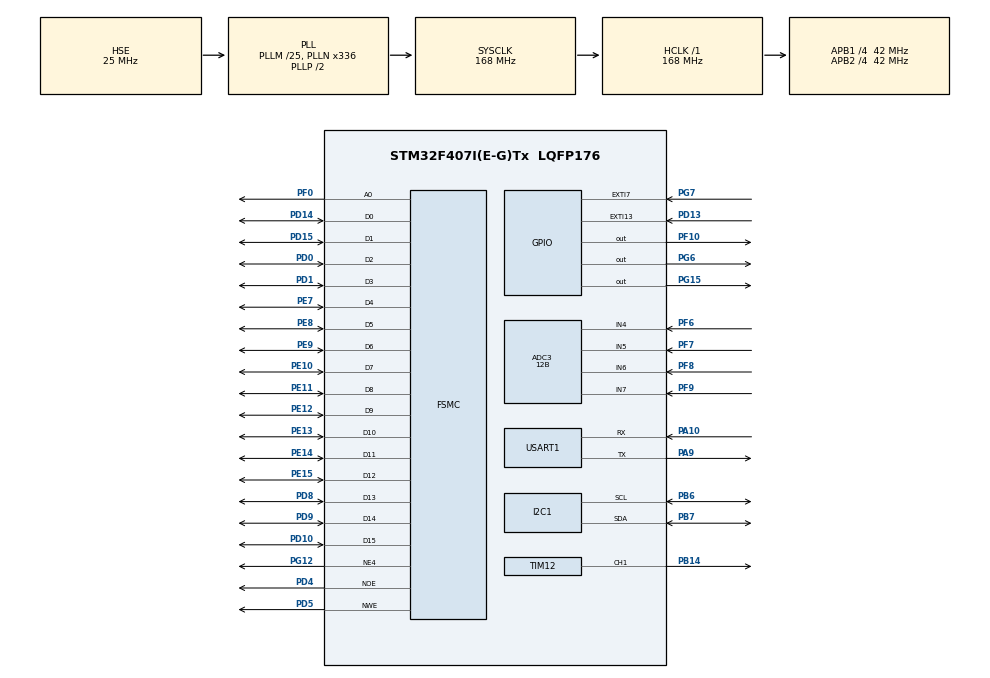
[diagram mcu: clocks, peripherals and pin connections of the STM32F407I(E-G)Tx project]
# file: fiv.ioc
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ADC3.Channel-0\#ChannelRegularConversion=ADC_CHANNEL_4
ADC3.Channel-1\#ChannelRegularConversion=ADC_CHANNEL_4
ADC3.Channel-2\#ChannelRegularConversion=ADC_CHANNEL_4
ADC3.Channel-3\#ChannelRegularConversion=ADC_CHANNEL_4
ADC3.ClockPrescaler=ADC_CLOCK_SYNC_PCLK_DIV2
ADC3.ContinuousConvMode=ENABLE
ADC3.DMAContinuousRequests=ENABLE
ADC3.DataAlign=ADC_DATAALIGN_RIGHT
ADC3.DiscontinuousConvMode=DISABLE
ADC3.EOCSelection=ADC_EOC_SINGLE_CONV
ADC3.EnableAnalogWatchDog=false
ADC3.ExternalTrigConvEdge=ADC_EXTERNALTRIGCONVEDGE_NONE
ADC3.InjNumberOfConversion=0
ADC3.NbrOfConversion=4
ADC3.NbrOfConversionFlag=1
ADC3.Rank-0\#ChannelRegularConversion=1
ADC3.Rank-1\#ChannelRegularConversion=2
ADC3.Rank-2\#ChannelRegularConversion=3
ADC3.Rank-3\#ChannelRegularConversion=4
ADC3.Resolution=ADC_RESOLUTION_12B
ADC3.SamplingTime-0\#ChannelRegularConversion=ADC_SAMPLETIME_3CYCLES
ADC3.SamplingTime-1\#ChannelRegularConversion=ADC_SAMPLETIME_3CYCLES
ADC3.SamplingTime-2\#ChannelRegularConversion=ADC_SAMPLETIME_3CYCLES
ADC3.SamplingTime-3\#ChannelRegularConversion=ADC_SAMPLETIME_3CYCLES
ADC3.ScanConvMode=ENABLE
Dma.ADC3.0.Direction=DMA_PERIPH_TO_MEMORY
Dma.ADC3.0.FIFOMode=DMA_FIFOMODE_DISABLE
Dma.ADC3.0.Instance=DMA2_Stream0
Dma.ADC3.0.MemDataAlignment=DMA_MDATAALIGN_HALFWORD
Dma.ADC3.0.MemInc=DMA_MINC_ENABLE
Dma.ADC3.0.Mode=DMA_NORMAL
Dma.ADC3.0.PeriphDataAlignment=DMA_PDATAALIGN_HALFWORD
Dma.ADC3.0.PeriphInc=DMA_PINC_DISABLE
Dma.ADC3.0.Priority=DMA_PRIORITY_HIGH
Dma.Request0=ADC3
FREERTOS.Tasks01=defaultTask,0,128,StartDefaultTask,Default
Mcu.Family=STM32F4
Mcu.Name=STM32F407I(E-G)Tx
Mcu.Package=LQFP176
NVIC.ADC_IRQn=true\:5\:0\:false\:false\:true\:true
NVIC.DMA2_Stream0_IRQn=true\:5\:0\:false\:false\:true\:true
NVIC.EXTI15_10_IRQn=true\:5\:0\:false\:false\:true\:true
NVIC.EXTI9_5_IRQn=true\:5\:0\:false\:false\:true\:true
NVIC.PriorityGroup=NVIC_PRIORITYGROUP_4
NVIC.USART1_IRQn=true\:5\:0\:false\:false\:true\:true
PA10.GPIO_Speed=GPIO_SPEED_FREQ_HIGH
PA10.Mode=Asynchronous
PA10.Signal=USART1_RX
PA9.GPIO_Speed=GPIO_SPEED_FREQ_HIGH
PA9.Mode=Asynchronous
PA9.Signal=USART1_TX
PB14.Signal=S_TIM12_CH1
PB6.Mode=I2C
PB6.Signal=I2C1_SCL
PB7.Mode=I2C
PB7.Signal=I2C1_SDA
PC14-OSC32_IN.Mode=LSE-External-Clock-Source
PC14-OSC32_IN.Signal=RCC_OSC32_IN
PC15-OSC32_OUT.Mode=LSE-External-Clock-Source
PC15-OSC32_OUT.Signal=RCC_OSC32_OUT
PD0.GPIO_Speed_High_Default=GPIO_SPEED_FREQ_HIGH
PD0.Signal=FSMC_D2_DA2
PD1.GPIO_Speed_High_Default=GPIO_SPEED_FREQ_HIGH
PD1.Signal=FSMC_D3_DA3
PD10.GPIO_Speed_High_Default=GPIO_SPEED_FREQ_HIGH
PD10.Signal=FSMC_D15_DA15
PD13.Signal=GPXTI13
PD14.GPIO_Speed_High_Default=GPIO_SPEED_FREQ_HIGH
PD14.Signal=FSMC_D0_DA0
PD15.GPIO_Speed_High_Default=GPIO_SPEED_FREQ_HIGH
PD15.Signal=FSMC_D1_DA1
PD4.GPIO_Speed_High_Default=GPIO_SPEED_FREQ_HIGH
PD4.Signal=FSMC_NOE
PD5.GPIO_Speed_High_Default=GPIO_SPEED_FREQ_HIGH
PD5.Signal=FSMC_NWE
PD8.GPIO_Speed_High_Default=GPIO_SPEED_FREQ_HIGH
PD8.Signal=FSMC_D13_DA13
PD9.GPIO_Speed_High_Default=GPIO_SPEED_FREQ_HIGH
PD9.Signal=FSMC_D14_DA14
PE10.GPIO_Speed_High_Default=GPIO_SPEED_FREQ_HIGH
PE10.Signal=FSMC_D7_DA7
PE11.GPIO_Speed_High_Default=GPIO_SPEED_FREQ_HIGH
PE11.Signal=FSMC_D8_DA8
PE12.GPIO_Speed_High_Default=GPIO_SPEED_FREQ_HIGH
PE12.Signal=FSMC_D9_DA9
PE13.GPIO_Speed_High_Default=GPIO_SPEED_FREQ_HIGH
PE13.Signal=FSMC_D10_DA10
PE14.GPIO_Speed_High_Default=GPIO_SPEED_FREQ_HIGH
PE14.Signal=FSMC_D11_DA11
PE15.GPIO_Speed_High_Default=GPIO_SPEED_FREQ_HIGH
PE15.Signal=FSMC_D12_DA12
PE7.GPIO_Speed_High_Default=GPIO_SPEED_FREQ_HIGH
PE7.Signal=FSMC_D4_DA4
PE8.GPIO_Speed_High_Default=GPIO_SPEED_FREQ_HIGH
PE8.Signal=FSMC_D5_DA5
PE9.GPIO_Speed_High_Default=GPIO_SPEED_FREQ_HIGH
PE9.Signal=FSMC_D6_DA6
PF0.GPIO_Speed_High_Default=GPIO_SPEED_FREQ_HIGH
PF0.Signal=FSMC_A0
PF10.Signal=GPIO_Output
PF6.Mode=IN4
PF6.Signal=ADC3_IN4
PF7.Mode=IN5
PF7.Signal=ADC3_IN5
PF8.Mode=IN6
PF8.Signal=ADC3_IN6
PF9.Mode=IN7
PF9.Signal=ADC3_IN7
PG12.GPIO_Speed_High_Default=GPIO_SPEED_FREQ_HIGH
PG12.Mode=NorPsramChipSelect4_2
PG12.Signal=FSMC_NE4
PG15.Signal=GPIO_Output
PG6.Signal=GPIO_Output
PG7.GPIO_PuPd=GPIO_PULLUP
PG7.Signal=GPXTI7
PH0-OSC_IN.Mode=HSE-External-Oscillator
PH0-OSC_IN.Signal=RCC_OSC_IN
PH1-OSC_OUT.Mode=HSE-External-Oscillator
PH1-OSC_OUT.Signal=RCC_OSC_OUT
ProjectManager.HeapSize=0x200
ProjectManager.StackSize=0x400
ProjectManager.TargetToolchain=MDK-ARM V5
RCC.48MHZClocksFreq_Value=84000000
RCC.AHBFreq_Value=168000000
RCC.APB1CLKDivider=RCC_HCLK_DIV4
RCC.APB1Freq_Value=42000000
RCC.APB1TimFreq_Value=84000000
RCC.APB2CLKDivider=RCC_HCLK_DIV4
RCC.APB2Freq_Value=42000000
RCC.APB2TimFreq_Value=84000000
RCC.CortexFreq_Value=168000000
RCC.HCLKFreq_Value=168000000
RCC.HSE_VALUE=25000000
RCC.HSI_VALUE=16000000
RCC.LSE_VALUE=32768
RCC.PLLM=25
RCC.PLLN=336
RCC.PLLSourceVirtual=RCC_PLLSOURCE_HSE
RCC.SYSCLKFreq_VALUE=168000000
RCC.SYSCLKSource=RCC_SYSCLKSOURCE_PLLCLK
RCC.VCOOutputFreq_Value=336000000
SH.FSMC_A0.0=FSMC_A0,A0_2
SH.FSMC_D0_DA0.0=FSMC_D0,16b-d2
SH.FSMC_D10_DA10.0=FSMC_D10,16b-d2
SH.FSMC_D11_DA11.0=FSMC_D11,16b-d2
SH.FSMC_D12_DA12.0=FSMC_D12,16b-d2
SH.FSMC_D13_DA13.0=FSMC_D13,16b-d2
SH.FSMC_D14_DA14.0=FSMC_D14,16b-d2
SH.FSMC_D15_DA15.0=FSMC_D15,16b-d2
SH.FSMC_D1_DA1.0=FSMC_D1,16b-d2
SH.FSMC_D2_DA2.0=FSMC_D2,16b-d2
SH.FSMC_D3_DA3.0=FSMC_D3,16b-d2
SH.FSMC_D4_DA4.0=FSMC_D4,16b-d2
SH.FSMC_D5_DA5.0=FSMC_D5,16b-d2
SH.FSMC_D6_DA6.0=FSMC_D6,16b-d2
SH.FSMC_D7_DA7.0=FSMC_D7,16b-d2
SH.FSMC_D8_DA8.0=FSMC_D8,16b-d2
SH.FSMC_D9_DA9.0=FSMC_D9,16b-d2
SH.FSMC_NOE.0=FSMC_NOE,Lcd2
SH.FSMC_NWE.0=FSMC_NWE,Lcd2
SH.S_TIM12_CH1.0=TIM12_CH1,PWM Generation1 CH1
TIM12.Period=20000
TIM12.Prescaler=7
TIM12.Pulse-PWM\ Generation1\ CH1=1000
VP_FREERTOS_VS_ENABLE.Mode=Enabled
VP_TIM12_VS_ClockSourceINT.Mode=Internal
board=102101142

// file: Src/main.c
/**
  ******************************************************************************
  * File Name          : main.c
  * Description        : Main program body
  ******************************************************************************
  *
  * COPYRIGHT(c) 2023 STMicroelectronics
  *
  * Redistribution and use in source and binary forms, with or without modification,
  * are permitted provided that the following conditions are met:
  *   1. Redistributions of source code must retain the above copyright notice,
  *      this list of conditions and the following disclaimer.
  *   2. Redistributions in binary form must reproduce the above copyright notice,
  *      this list of conditions and the following disclaimer in the documentation
  *      and/or other materials provided with the distribution.
  *   3. Neither the name of STMicroelectronics nor the names of its contributors
  *      may be used to endorse or promote products derived from this software
  *      without specific prior written permission.
  *
  * THIS SOFTWARE IS PROVIDED BY THE COPYRIGHT HOLDERS AND CONTRIBUTORS "AS IS"
  * AND ANY EXPRESS OR IMPLIED WARRANTIES, INCLUDING, BUT NOT LIMITED TO, THE
  * IMPLIED WARRANTIES OF MERCHANTABILITY AND FITNESS FOR A PARTICULAR PURPOSE ARE
  * DISCLAIMED. IN NO EVENT SHALL THE COPYRIGHT HOLDER OR CONTRIBUTORS BE LIABLE
  * FOR ANY DIRECT, INDIRECT, INCIDENTAL, SPECIAL, EXEMPLARY, OR CONSEQUENTIAL
  * DAMAGES (INCLUDING, BUT NOT LIMITED TO, PROCUREMENT OF SUBSTITUTE GOODS OR
  * SERVICES; LOSS OF USE, DATA, OR PROFITS; OR BUSINESS INTERRUPTION) HOWEVER
  * CAUSED AND ON ANY THEORY OF LIABILITY, WHETHER IN CONTRACT, STRICT LIABILITY,
  * OR TORT (INCLUDING NEGLIGENCE OR OTHERWISE) ARISING IN ANY WAY OUT OF THE USE
  * OF THIS SOFTWARE, EVEN IF ADVISED OF THE POSSIBILITY OF SUCH DAMAGE.
  *
  ******************************************************************************
  */
#include "stm32f4xx_hal.h"
#include "cmsis_os.h"
#include "adc.h"
#include "dma.h"
#include "i2c.h"
#include "tim.h"
#include "usart.h"
#include "gpio.h"
#include "fsmc.h"

/* USER CODE BEGIN Includes */
#include "lcd.h"
#include "stdio.h"
/* USER CODE END Includes */

/* USER CODE BEGIN PV */
/* Private variables ---------------------------------------------------------*/
extern uint8_t gImage_fg[];

__IO uint16_t
adcx[4]={0};
float temp0, temp1, temp2, temp3;
/* USER CODE END PV */

void SystemClock_Config(void);
void Error_Handler(void);
void MX_FREERTOS_Init(void);

/* USER CODE BEGIN PFP */
/* Private function prototypes -----------------------------------------------*/
void lcd_init(void);

/* USER CODE END PFP */

/* USER CODE BEGIN 0 */
void HAL_Delay_us(uint32_t us) {
    HAL_SYSTICK_Config(HAL_RCC_GetHCLKFreq() / 1000000);
    HAL_Delay(us - 1);
    HAL_SYSTICK_Config(HAL_RCC_GetHCLKFreq() / 1000);
}

void LED(void const *arg) {
    while (1) {
        HAL_GPIO_TogglePin(GPIOF, GPIO_PIN_10);
        osDelay(500);
    }
}

void BEEP(void const *arg) {
    while (1) {
        HAL_GPIO_TogglePin(GPIOG, GPIO_PIN_6);
				osDelay(500);

        /*HAL_GPIO_WritePin(GPIOG,GPIO_PIN_6,GPIO_PIN_SET);
        osDelay(50);
        HAL_GPIO_WritePin(GPIOG,GPIO_PIN_6,GPIO_PIN_RESET);
        osDelay(50);*/
    }
}

void Port(void const *arg) {
    while (1) {
        // HAL_GPIO_TogglePin(GPIOG, GPIO_PIN_6);

        //osDelay(500);

        printf("fsdafasd\n");
        osDelay(1000);
    }
}

void MyADC(void const *arg) {
    while (1) {
        // HAL_GPIO_TogglePin(GPIOG, GPIO_PIN_6);

        //osDelay(500);
        temp0 = (float) adcx[0] * (3.3 / 4096);
        temp1 = (float) adcx[1] * (3.3 / 4096);
        temp2 = (float) adcx[2] * (3.3 / 4096);
        temp3 = (float) adcx[3] * (3.3 / 4096);
        printf("\r\n �ƾ������� =%f\n ���������� =%f\n ���洫���� =%f\n ���崫���� =%f\n\r", temp0, temp1, temp2,
               temp3);
        osDelay(1000);
    }
}

void Steer(void const *arg) {
    uint16_t i;

    while (1) {
        for (i = 600; i < 2400; i++) {
            __HAL_TIM_SetCompare(&htim12, TIM_CHANNEL_1, i);
            HAL_Delay(1);
        }
        for (i = 2400; i > 600; i--) {
            __HAL_TIM_SetCompare(&htim12, TIM_CHANNEL_1, i);
						HAL_Delay(1);
        }
    }
}

void MyLCD(void const *arg) {
    char s[50] = "";

    while (1) {
       //sprintf(s, "\r\n �ƾ������� =%f\n ���������� =%f\n ���洫���� =%f\n ���崫���� =%f\n\r", temp0, temp1, temp2,
               //temp3);
        //showString(s);
			lcd_clear(Blue);
			 LCD_ShowString(60, 18, "fsdafasd\nfasfsdaasfd", Black, White);
        osDelay(1000);
    }

}

/* USER CODE END 0 */

int main(void)
{

  /* MCU Configuration----------------------------------------------------------*/

  /* Reset of all peripherals, Initializes the Flash interface and the Systick. */
  HAL_Init();

  /* Configure the system clock */
  SystemClock_Config();

  /* Initialize all configured peripherals */
  MX_GPIO_Init();
  MX_DMA_Init();
  MX_FSMC_Init();
  MX_USART1_UART_Init();
  MX_ADC3_Init();
  MX_TIM12_Init();
  MX_I2C1_Init();
	lcd_init();
  /* USER CODE BEGIN 2 */

		lcd_clear(Blue);
		HAL_Delay(500);
		LCD_ShowString(60, 18, "**** Һ������ ****", Blue, White);

		HAL_TIM_PWM_Start(&htim12, TIM_CHANNEL_1);
		HAL_ADC_Start_DMA(&hadc3, (uint32_t *) adcx, 4);//����ADCת��

    osThreadDef(led, LED, osPriorityAboveNormal, 0, 128);
		osThreadCreate(osThread(led), NULL);

    osThreadDef(beep, BEEP, osPriorityNormal, 0, 128);
    osThreadCreate(osThread(beep), NULL);

    osThreadDef(port, Port, osPriorityNormal, 0, 128);
    osThreadCreate(osThread(port), NULL);

    osThreadDef(myadc, MyADC, osPriorityNormal, 0, 128);
    osThreadCreate(osThread(myadc), NULL);

		//osThreadDef(steer, Steer, osPriorityNormal, 0, 128);
		//osThreadCreate(osThread(steer), NULL);

    osThreadDef(mylcd, MyLCD, osPriorityNormal, 0, 128);
    osThreadCreate(osThread(mylcd), NULL);

  /* USER CODE END 2 */

  /* Call init function for freertos objects (in freertos.c) */
  MX_FREERTOS_Init();

  /* Start scheduler */
  osKernelStart();

  /* We should never get here as control is now taken by the scheduler */

  /* Infinite loop */
    while (1) {

  /* USER CODE BEGIN 3 */
			//lcd_clear(Blue);
			//LCD_ShowString(60, 18, "adsfsdfsad", Blue, White);
      //HAL_Delay(1000);
        // printf("%d\n", Pen_Point.Key_Sta);
        /********MENU HANDLER********/

        /****************************/
    }
  /* USER CODE END 3 */

}

/** System Clock Configuration
*/
void SystemClock_Config(void)
{

  RCC_OscInitTypeDef RCC_OscInitStruct;
  RCC_ClkInitTypeDef RCC_ClkInitStruct;

  __HAL_RCC_PWR_CLK_ENABLE();

  __HAL_PWR_VOLTAGESCALING_CONFIG(PWR_REGULATOR_VOLTAGE_SCALE1);

  RCC_OscInitStruct.OscillatorType = RCC_OSCILLATORTYPE_HSE;
  RCC_OscInitStruct.HSEState = RCC_HSE_ON;
  RCC_OscInitStruct.PLL.PLLState = RCC_PLL_ON;
  RCC_OscInitStruct.PLL.PLLSource = RCC_PLLSOURCE_HSE;
  RCC_OscInitStruct.PLL.PLLM = 25;
  RCC_OscInitStruct.PLL.PLLN = 336;
  RCC_OscInitStruct.PLL.PLLP = RCC_PLLP_DIV2;
  RCC_OscInitStruct.PLL.PLLQ = 4;
  if (HAL_RCC_OscConfig(&RCC_OscInitStruct) != HAL_OK)
  {
    Error_Handler();
  }

  RCC_ClkInitStruct.ClockType = RCC_CLOCKTYPE_HCLK|RCC_CLOCKTYPE_SYSCLK
                              |RCC_CLOCKTYPE_PCLK1|RCC_CLOCKTYPE_PCLK2;
  RCC_ClkInitStruct.SYSCLKSource = RCC_SYSCLKSOURCE_PLLCLK;
  RCC_ClkInitStruct.AHBCLKDivider = RCC_SYSCLK_DIV1;
  RCC_ClkInitStruct.APB1CLKDivider = RCC_HCLK_DIV4;
  RCC_ClkInitStruct.APB2CLKDivider = RCC_HCLK_DIV4;
  if (HAL_RCC_ClockConfig(&RCC_ClkInitStruct, FLASH_LATENCY_5) != HAL_OK)
  {
    Error_Handler();
  }

  HAL_SYSTICK_Config(HAL_RCC_GetHCLKFreq()/1000);

  HAL_SYSTICK_CLKSourceConfig(SYSTICK_CLKSOURCE_HCLK);

  /* SysTick_IRQn interrupt configuration */
  HAL_NVIC_SetPriority(SysTick_IRQn, 15, 0);
}

/* USER CODE BEGIN 4 */
/*int fputc(int ch, FILE *f) {
    while ((USART1->SR & 0X40) == 0);
    USART1->DR = (uint8_t) ch;
    return ch;
}*/
int fputc(int ch, FILE *f){
  uint8_t tmp[1]={0};
	tmp[0] = (uint8_t)ch;
	HAL_UART_Transmit(&huart1,tmp,1,10);
	return ch;
}
/* USER CODE END 4 */

void Error_Handler(void)
{
    while (1) {
    }
}

/************************ (C) COPYRIGHT STMicroelectronics *****END OF FILE****/

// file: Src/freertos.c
/**
  ******************************************************************************
  * File Name          : freertos.c
  * Description        : Code for freertos applications
  ******************************************************************************
  *
  * COPYRIGHT(c) 2023 STMicroelectronics
  *
  * Redistribution and use in source and binary forms, with or without modification,
  * are permitted provided that the following conditions are met:
  *   1. Redistributions of source code must retain the above copyright notice,
  *      this list of conditions and the following disclaimer.
  *   2. Redistributions in binary form must reproduce the above copyright notice,
  *      this list of conditions and the following disclaimer in the documentation
  *      and/or other materials provided with the distribution.
  *   3. Neither the name of STMicroelectronics nor the names of its contributors
  *      may be used to endorse or promote products derived from this software
  *      without specific prior written permission.
  *
  * THIS SOFTWARE IS PROVIDED BY THE COPYRIGHT HOLDERS AND CONTRIBUTORS "AS IS"
  * AND ANY EXPRESS OR IMPLIED WARRANTIES, INCLUDING, BUT NOT LIMITED TO, THE
  * IMPLIED WARRANTIES OF MERCHANTABILITY AND FITNESS FOR A PARTICULAR PURPOSE ARE
  * DISCLAIMED. IN NO EVENT SHALL THE COPYRIGHT HOLDER OR CONTRIBUTORS BE LIABLE
  * FOR ANY DIRECT, INDIRECT, INCIDENTAL, SPECIAL, EXEMPLARY, OR CONSEQUENTIAL
  * DAMAGES (INCLUDING, BUT NOT LIMITED TO, PROCUREMENT OF SUBSTITUTE GOODS OR
  * SERVICES; LOSS OF USE, DATA, OR PROFITS; OR BUSINESS INTERRUPTION) HOWEVER
  * CAUSED AND ON ANY THEORY OF LIABILITY, WHETHER IN CONTRACT, STRICT LIABILITY,
  * OR TORT (INCLUDING NEGLIGENCE OR OTHERWISE) ARISING IN ANY WAY OUT OF THE USE
  * OF THIS SOFTWARE, EVEN IF ADVISED OF THE POSSIBILITY OF SUCH DAMAGE.
  *
  ******************************************************************************
  */

#include "FreeRTOS.h"
#include "task.h"
#include "cmsis_os.h"

osThreadId defaultTaskHandle;

void StartDefaultTask(void const * argument);

void MX_FREERTOS_Init(void); /* (MISRA C 2004 rule 8.1) */

/* Hook prototypes */

/* Init FreeRTOS */

void MX_FREERTOS_Init(void) {

  /* Create the thread(s) */
  /* definition and creation of defaultTask */
  osThreadDef(defaultTask, StartDefaultTask, osPriorityNormal, 0, 128);
  defaultTaskHandle = osThreadCreate(osThread(defaultTask), NULL);

}

/* StartDefaultTask function */
void StartDefaultTask(void const * argument)
{

  for(;;)
  {
    osDelay(1);
  }
}

/************************ (C) COPYRIGHT STMicroelectronics *****END OF FILE****/
